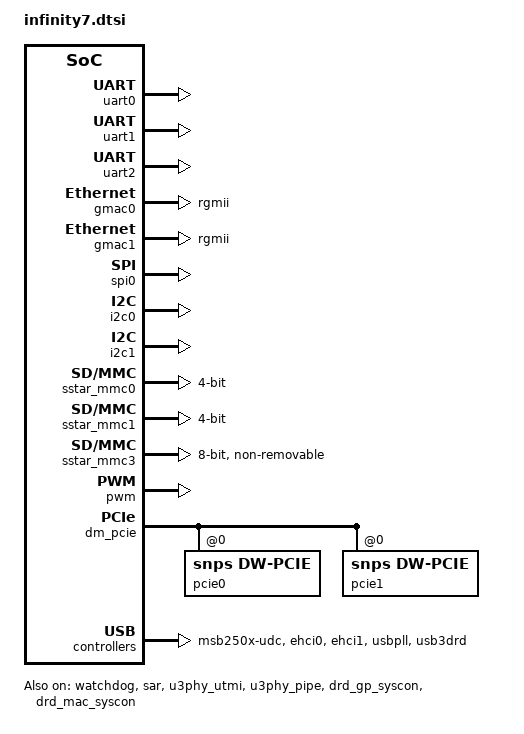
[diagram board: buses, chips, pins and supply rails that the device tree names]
/*
* infinity7.dtsi- Sigmastar
*
* Copyright (c) [2019~2020] SigmaStar Technology.
*
*
* This software is licensed under the terms of the GNU General Public
* License version 2, as published by the Free Software Foundation, and
* may be copied, distributed, and modified under those terms.
*
* This program is distributed in the hope that it will be useful,
* but WITHOUT ANY WARRANTY; without even the implied warranty of
* MERCHANTABILITY or FITNESS FOR A PARTICULAR PURPOSE.  See the
* GNU General Public License version 2 for more details.
*
*/

#include <generated/autoconf.h>
#include "skeleton.dtsi"
#include "../../../include/configs/infinity7.h"
#include "../../../drivers/sstar/include/infinity7/gpio.h"

/ {
    cpus {
        #address-cells = <2>;
        #size-cells = <0>;

        cpu@0 {
            device_type = "cpu";
            compatible = "arm,cortex-a55";
            clock-frequency = <1200000000>;
            //clocks = <&CLK_cpupll_clk>;
            reg = <0x0 0x0>;
            enable-method = "spin-table";
            cpu-release-addr = <0x0 0xa0028000>;
            next-level-cache = <&L2_0>;
        };
#ifndef CONFIG_NO_SMP
        cpu@1 {
            device_type = "cpu";
            compatible = "arm,cortex-a55";
            clock-frequency = <1200000000>;
            reg = <0x0 0x100>;
            cpu-release-addr = <0x0 0xa0028000>;
            next-level-cache = <&L2_0>;
        };

        cpu@2 {
            device_type = "cpu";
            compatible = "arm,cortex-a55";
            clock-frequency = <1200000000>;
            reg = <0x0 0x200>;
            next-level-cache = <&L2_0>;
        };

        cpu@3 {
            device_type = "cpu";
            compatible = "arm,cortex-a55";
            clock-frequency = <1200000000>;
            reg = <0x0 0x300>;
            next-level-cache = <&L2_0>;
        };
#endif
        L2_0: l2-cache0 {
            compatible = "cache";
            cache-level = <2>;
        };
    };

    aliases {
        console = &uart0;
        serial0 = &uart0;
        serial1 = &uart1;
        serial2 = &fuart;
        serial3 = &uart2;
        serial4 = &uart3;
        serial5 = &uart4;
        serial6 = &uart5;
    };

    soc {
        compatible = "simple-bus";
        #address-cells = <2>;
        #size-cells = <2>;
        dma-ranges = <0x0 0x0 0x0 CONFIG_SYS_SDRAM_BASE 0x0 CONFIG_UBOOT_RAM_SIZE>;
        ranges;

        clks: clocks{
            #address-cells = <2>;
            #size-cells = <2>;
            ranges;
        };

        watchdog: watchdog {
            compatible = "sstar,wdt";
            reg = <0x0 0x1F006000 0x0 0x40>;
            status = "okay";
        };

        uart0: uart@1F221000 {
            compatible = "sstar,uart";
            reg = <0x0 0x1F221000 0x0 0x100>;
            status = "okay";
        };

        uart1: uart1@1F221200 {
            compatible = "sstar,uart";
            reg = <0x0 0x1F221200 0x0 0x100>;
            status = "okay";
        };

        fuart: fuart@1F220400 {
            compatible = "sstar,uart";
            reg = <0x0 0x1F220400 0x0 0x100>;
            status = "disabled";
        };

        uart2: uart2@1F221400 {
            compatible = "sstar,uart";
            reg = <0x0 0x1F221400 0x0 0x100>;
            status = "okay";
        };

        uart3: uart3@1F221600 {
            compatible = "sstar,uart";
            reg = <0x0 0x1F221600 0x0 0x100>;
            status = "disabled";
        };

        uart4: uart4@1F221800 {
            compatible = "sstar,uart";
            reg = <0x0 0x1F221800 0x0 0x100>;
            status = "disabled";
        };

        uart5: uart5@1F221A00 {
            compatible = "sstar,uart";
            reg = <0x0 0x1F221A00 0x0 0x100>;
            status = "disabled";
        };

        gpio: gpio {
            compatible = "sstar,gpio";
            status = "okay";
        };

        gmac0 {
            compatible = "sstar,gmac", "snps,dwmac-5.10a";
            reg = <0x0 0x1F34A000 0x0 0x1300>;
            clock-names = "gmac-clk";
            reset-io = /bits/ 8 <0>; // 0 : IO0 , 1: IO1 for I7 , 0 : RSTN , 1: MCLK for m6p
            phy-mode = "rgmii";
            max-speed = <1000>;
            status = "okay";
        };

        gmac1 {
            compatible = "sstar,gmac", "snps,dwmac-5.10a";
            reg = <0x0 0x1F34B400 0x0 0x1300>;
            clock-names = "gmac-clk";
            reset-io = /bits/ 8 <0>; // 0 : IO0 , 1: IO1 for I7 , 0 : RSTN , 1: MCLK for m6p
            phy-mode = "rgmii";
            max-speed = <1000>;
            status = "okay";
        };

        spi0: spi0@1F222000 {
            compatible = "sstar,mspi";
            mspi-group = <0>;
            reg = <0x0 0x1F222000 0x0 0x200>;
            use-dma = <0>;
            cs-num = <2>;
            //cs-ext = <PAD_UNKNOWN>;
            //4to3-mode;
            //clk-out-mode = <27000000>;
            status = "okay";
        };

        spi1: spi1@1F222200 {
            compatible = "sstar,mspi";
            mspi-group = <1>;
            reg = <0x0 0x1F222200 0x0 0x200>;
            use-dma = <0>;
            cs-num = <1>;
            //cs-ext = <PAD_UNKNOWN>;
            //4to3-mode;
            //clk-out-mode = <27000000>;
            status = "disabled";
        };

        spi2: spi2@1F222400 {
            compatible = "sstar,mspi";
            mspi-group = <2>;
            reg = <0x0 0x1F222400 0x0 0x200>;
            use-dma = <0>;
            cs-num = <1>;
            //cs-ext = <PAD_UNKNOWN>;
            //4to3-mode;
            //clk-out-mode = <27000000>;
            status = "disabled";
        };

        spi3: spi3@1F222600 {
            compatible = "sstar,mspi";
            mspi-group = <3>;
            reg = <0x0 0x1F222600 0x0 0x200>;
            use-dma = <0>;
            cs-num = <1>;
            //cs-ext = <PAD_UNKNOWN>;
            //4to3-mode;
            //clk-out-mode = <27000000>;
            status = "disabled";
        };

        i2c0: i2c0@1F222800 {
            compatible = "sstar,i2c";
            reg = <0x0 0x1F222800 0x0 0x100>;
            i2c-speed = <400000>;
            i2c-group = <0>;
            i2c-en-dma = <0>;
            i2c-padmux = <1>;
            status = "okay";
        };

        i2c1: i2c1@1F222A00 {
            compatible = "sstar,i2c";
            reg = <0x0 0x1F222A00 0x0 0x100>;
            i2c-speed = <400000>;
            i2c-group = <1>;
            i2c-en-dma = <0>;
            i2c-padmux = <1>;
            status = "okay";
        };

        i2c2: i2c2@1F222C00 {
            compatible = "sstar,i2c";
            reg = <0x0 0x1F222C00 0x0 0x100>;
            status = "disabled";
        };

        i2c3: i2c3@1F222E00 {
            compatible = "sstar,i2c";
            reg = <0x0 0x1F222E00 0x0 0x100>;
            status = "disabled";
        };

        i2c4: i2c4@1F223000 {
            compatible = "sstar,i2c";
            reg = <0x0 0x1F223000 0x0 0x100>;
            status = "disabled";
        };

        i2c5: i2c5@1F223200 {
            compatible = "sstar,i2c";
            reg = <0x0 0x1F223200 0x0 0x100>;
            status = "disabled";
        };

        i2c6: i2c6@1F223400 {
            compatible = "sstar,i2c";
            reg = <0x0 0x1F223400 0x0 0x100>;
            status = "disabled";
        };

        i2c7: i2c7@1F223800 {
            compatible = "sstar,i2c";
            reg = <0x0 0x1F223800 0x0 0x100>;
            status = "disabled";
        };

        i2c8: i2c8@1F223A00 {
            compatible = "sstar,i2c";
            reg = <0x0 0x1F223A00 0x0 0x100>;
            status = "disabled";
        };

        i2c9: i2c9@1F223C00 {
            compatible = "sstar,i2c";
            reg = <0x0 0x1F223C00 0x0 0x100>;
            status = "disabled";
        };

        i2c10: i2c10@1F223E00 {
            compatible = "sstar,i2c";
            reg = <0x0 0x1F223E00 0x0 0x100>;
            status = "disabled";
        };


        sstar_mmc0: sstar_mmc0 {
            compatible = "sstar-mmc";

            bus-width = <4>;
            max-frequency = <43200000>;
            cap-mmc-highspeed = <1>;
            ip-order = <0>;
            pad-order = <0>;
            pwr-on-delay = <10>;
            pwr-off-delay = <50>;
            fake-cdz = <0>;
            rev-cdz = <0>;
            pwr-pad = <15>;
            cdz-pad = <17>;
            clk-driving = <0>;
            cmd-driving = <0>;
            data-driving = <0>;
            en-clk-phase = <0>;
            rx-clk-phase = <0>;
            tx-clk-phase = <0>;
            status = "okay";
        };

        sstar_mmc1: sstar_mmc1 {
            compatible = "sstar-mmc";

            bus-width = <4>;
            max-frequency = <43200000>;
            cap-mmc-highspeed = <1>;
            ip-order = <1>;
            pad-order = <0>;
            pwr-on-delay = <10>;
            pwr-off-delay = <50>;
            fake-cdz = <0>;
            rev-cdz = <0>;
            pwr-pad = <15>;
            cdz-pad = <17>;
            clk-driving = <0>;
            cmd-driving = <0>;
            data-driving = <0>;
            en-clk-phase = <0>;
            rx-clk-phase = <0>;
            tx-clk-phase = <0>;
            status = "okay";
        };

        sstar_mmc3: sstar_mmc3 {
            compatible = "sstar-mmc";

            bus-width = <8>;
            max-frequency = <43200000>;
            cap-mmc-highspeed = <1>;
            ip-order = <3>;
            pad-order = <0>;
            pwr-on-delay = <10>;
            pwr-off-delay = <50>;
            fake-cdz = <1>;
            rev-cdz = <0>;
            clk-driving = <2>;
            cmd-driving = <2>;
            data-driving = <2>;
            en-clk-phase = <0>;
            rx-clk-phase = <0>;
            tx-clk-phase = <0>;

            non-removable = <1>;
            status = "okay";
        };

        pwm: pwm@1F203200 {
            compatible = "sstar,pwm";
            reg = <0x0 0x1F203200 0x0 0x100>;
            clock-frequence = <12000000>;
            padmux = <0x0 0x0 0x0 0x0 0x0 0x0 0x0 0x0 0x0 0x0 0x0 0x0>;
            status = "okay";
        };

        sar: sar {
            compatible = "sstar,sar";
            reg = <0x0 0x1F002800 0x0 0x200>;
            status = "okay";
        };

        dm_pcie: dm_pcie {
            compatible = "sstar,dm_pcie";
            #address-cells = <2>;
            #size-cells = <2>;
            ranges;
            status = "okay";

            pcie0: pcie@1F350000 {
                compatible = "snps,dw-pcie"; /* [rc] "snps,dw-pcie" [ep] "snps,dw-pcie-ep" [bootargs] "snps,dw-pcie-earlyparam" */
                reg = <0x0 0x1f350000 0x0  0x1000>,
                      <0x0 0x1a000000 0x0 0xe0000>,   /* [rc] 448KB for type0; 448KB for type1 */
                      <0x0 0x1a000000 0x0 0x1000000>; /* [ep] Configuration space */
                reg-names = "dbi", "config", "addr_space";
                #address-cells = <3>;
                #size-cells = <2>;

                /* properties for RC */
                device_type = "pci";
                bus-range = <0x00 0xff>;
                /* ranges:   [flags]   [pci addr]    [cpu addr]        [size] */
                ranges = <0x81000000 0 0x000e0000  0 0x1a0e0000  0 0x00020000   /* downstream I/O */
                          0x82000000 0 0x00100000  0 0x1a100000  0 0x00f00000>; /* non-prefetchable memory */

                /* properties for EP */
                num-ib-windows = <2>;
                num-ob-windows = <2>;

                portid = <0>;
                use_internal_clk = <0>;/* 0:clk-gen; 1:internal pll */
                num-lanes = <2>;

                num_clks_mandatory = <2>; /* mandatory clk numbers need to be applied for PCIE func */
                max-link-speed = <2>;
                status = "okay";
            };

            pcie1: pcie@1F351000 {
                compatible = "snps,dw-pcie";  /* [rc] "snps,dw-pcie" [ep] "snps,dw-pcie-ep" [bootargs] "snps,dw-pcie-earlyparam" */
                reg = <0x0 0x1f351000 0x0  0x1000>,
                      <0x0 0x1b000000 0x0 0xe0000>,   /* [rc] 448KB for type0; 448KB for type1 */
                      <0x0 0x1b000000 0x0 0x1000000>; /* [ep] Configuration space */
                reg-names = "dbi", "config", "addr_space";
                #address-cells = <3>;
                #size-cells = <2>;

                /* properties for RC */
                device_type = "pci";
                bus-range = <0x00 0xff>;
                /* ranges:   [flags]   [pci addr]    [cpu addr]        [size] */
                ranges = <0x81000000 0 0x000e0000  0 0x1b0e0000  0 0x00020000   /* downstream I/O */
                          0x82000000 0 0x00100000  0 0x1b100000  0 0x00f00000>; /* non-prefetchable memory */

                /* properties for EP */
                num-ib-windows = <2>;
                num-ob-windows = <2>;

                portid = <1>;
                use_internal_clk = <0>;/* 0:clk-gen; 1:internal pll */
                num-lanes = <2>;

                num_clks_mandatory = <2>; /* mandatory clk numbers need to be applied for PCIE func */
                max-link-speed = <2>;
                status = "okay";
            };
        };

        msb250x-udc {
            compatible = "sstar,msb250x-udc";
            status = "okay";
        };

        ehci0: ehci@1f284800{
            compatible = "sstar,ehci";
            reg = <0x0 0x1f284200 0x0 0x200>,
                  <0x0 0x1f284400 0x0 0x200>,
                  <0x0 0x1f284600 0x0 0x200>,
                  <0x0 0x1f284800 0x0 0x200>;
            status = "okay";
        };

        ehci1: ehci@1f286400{
            compatible = "sstar,ehci";
            reg = <0x0 0x1f285200 0x0 0x200>,
                  <0x0 0x1f286000 0x0 0x200>,
                  <0x0 0x1f286200 0x0 0x200>,
                  <0x0 0x1f286400 0x0 0x200>;
            status = "okay";
        };

        usbpll: usb-pll {
            compatible = "sstar,infinity7-usbpll";
            reg = <0x0 0x1f283c00 0x0 0x200>;
            #clock-cells = <0>;
            status = "okay";
        };

        u3phy_utmi: utmi@1f286e00 {
            compatible = "sstar,infinity7-phy-utmi";
            reg = <0x0 0x1f286e00 0x0 0x200>;
            clocks = <&usbpll>;
            sstar,only-for-dwc3;
            sstar,tx-swing-and-de-emphasis = <0x3f>, <0x1a>, <0x07>;
            #phy-cells = <0>;
            status = "okay";
        };

        u3phy_pipe: pipe@1f2a5200 {
            compatible = "sstar,infinity7-pipe";
            reg = <0x0 0x1f2a5200 0x0 0x800>;
            sstar,tx-swing-and-de-emphasis = <0x2d>, <0x3c>, <0x0d>;
            sstar,synthesiszer-clk = <0x002c3c9e>;
            //clocks = <&CLK_ssusb_phy_108>, <&CLK_ssusb_phy_432>;
            #phy-cells = <0>;
            status = "okay";
       };

        drd_gp_syscon: drd-gp-syscon@0x1f286600 {
            compatible = "sstar,infinity7-usb30-drd-gp-syscon", "syscon";
            reg = <0x0 0x1f286600 0x0 0x200>;
            reg-io-width = <2>;
            status = "okay";
        };

        drd_mac_syscon: drd-mac-syscon@0x1f286c00 {
            compatible = "sstar,infinity7-usb30-drd-mac-syscon", "syscon";
            reg = <0x0 0x1f286c00 0x0 0x200>;
            reg-io-width = <2>;
            status = "okay";
        };

        usb3drd: usb3 {
            compatible = "sstar,infinity7-dwc3";
            //clocks = <&CLK_sof_usb30_drd>;
            sstar,x2a-addr-off = <0x000000>, <0x000002>, <0x000004>, <0x000008>;
            sstar,usb3drd-gp-syscon = <&drd_gp_syscon>;
            sstar,usb3drd-mac-syscon = <&drd_mac_syscon>;
            #address-cells = <2>;
            #size-cells = <2>;
            ranges;
            status = "okay";

            dwc3: dwc3 {
                compatible = "snps,dwc3";
                reg = <0x0 0x1f348000 0x0 0x1400>;
                maximum-speed = "super-speed";
                phy_type = "utmi_wide";
                phys = <&u3phy_utmi>, <&u3phy_pipe>;
                phy-names = "usb2-phy", "usb3-phy";
                snps,incr-burst-type-adjustment = <1>, <4>, <8>, <16>;
                snps,dis_u3_susphy_quirk;
                snps,dis_u2_susphy_quirk;
                snps,usb3_lpm_capable;
                linux,sysdev_is_parent;
                status = "okay";
            };
        };
    };
};

&clks {
    #address-cells = <1>;
    #size-cells = <1>;
};
